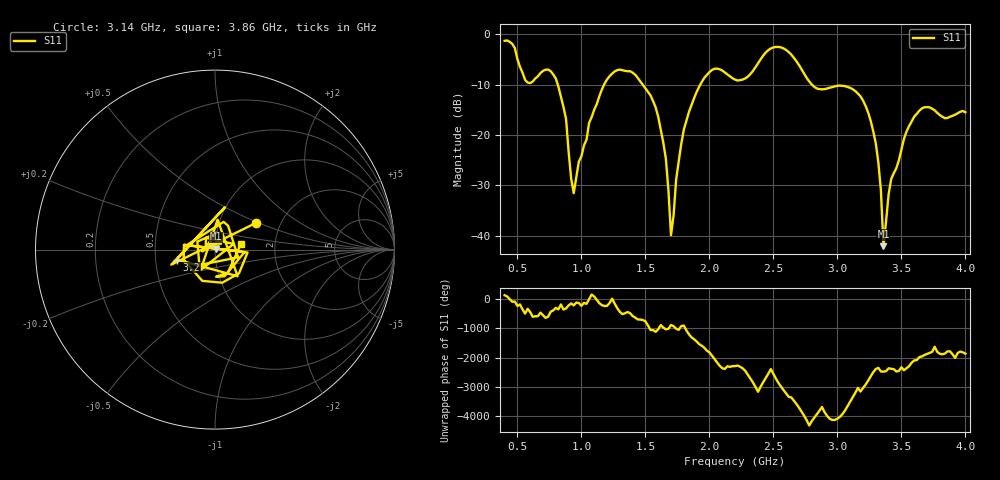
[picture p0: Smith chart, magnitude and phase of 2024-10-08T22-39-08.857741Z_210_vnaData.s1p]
! Created with skrf (http://scikit-rf.org).
# Hz S RI R 50.0
!freq ReS11 ImS11
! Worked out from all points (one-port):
!   181 points, 400 MHz to 4 GHz, reference 50 ohm
!   lowest |S11| = -42.1 dB at 3.36 GHz (marker M1), VSWR 1.02, Z = 50.6 + j0.492 ohm
!   |S11| at or under -10 dB: 815 MHz to 1.178 GHz (362.5 MHz wide, 36.4 % of centre); 1.479 GHz to 1.929 GHz (450.4 MHz wide, 26.4 % of centre); 2.8 GHz to end of sweep
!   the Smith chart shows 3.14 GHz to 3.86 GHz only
!   S11 on the Smith chart (normalised r, x): 3.14 GHz: 1.50, +0.48; 3.2 GHz: 0.65, -0.08; 3.86 GHz: 1.33, +0.08
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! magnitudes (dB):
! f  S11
! 400 MHz  -1.3
! 580 MHz  -9.6
! 760 MHz  -7.3
! 860 MHz  -14.5
! 940 MHz  -31.6
! 1.06 GHz  -17.6
! 1.3 GHz  -7.0
! 1.58 GHz  -14.5
! 1.66 GHz  -24.8
! 1.7 GHz  -39.9
! 1.76 GHz  -25.3
! 1.84 GHz  -15.4
! 1.96 GHz  -8.7
! 2.2 GHz  -9.0
! 2.5 GHz  -2.6
! 2.66 GHz  -4.7
! 2.84 GHz  -10.8
! 3.1 GHz  -10.7
! 3.14 GHz  -11.3
! 3.2 GHz  -13.2
! 3.3 GHz  -21.7
! 3.34 GHz  -31.0
! 3.36 GHz  -42.1
! 3.42 GHz  -28.8
! 3.56 GHz  -18.2
! 3.68 GHz  -14.5
! 3.86 GHz  -16.6
! 4 GHz  -15.5
